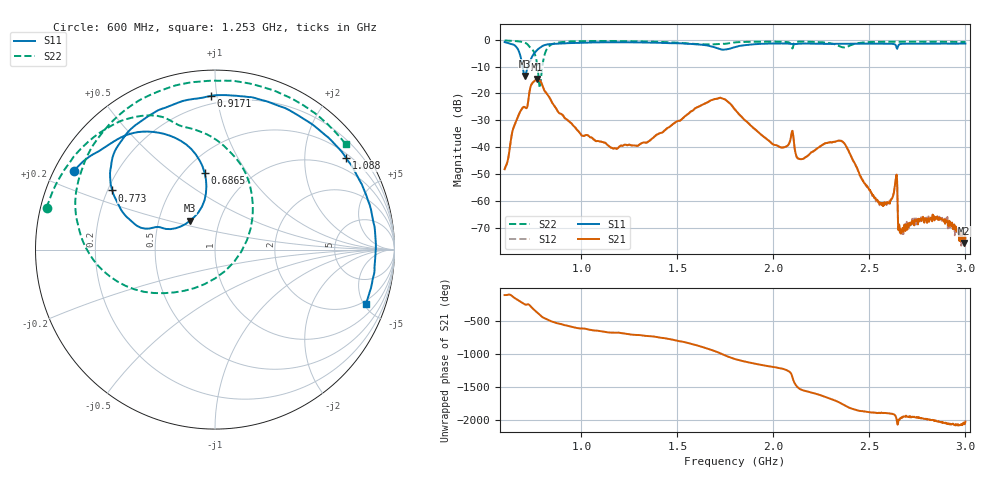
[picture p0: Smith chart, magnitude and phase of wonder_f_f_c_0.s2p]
#  HZ  S  RI  R  50.00
! Rohde & Schwarz ZVB8 2Ports - Version 2.81 - 1145.1010k08 SN: 100113
! Date: 2016-05-12 03:16:58
! Measurements: S11 S21 S12 S22
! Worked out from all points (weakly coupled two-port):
!   1000 points, 600 MHz to 3 GHz, reference 50 ohm
!   highest |S21| = -14.64 dB at 770.6 MHz (marker M1); lowest = -75.5 dB at 2.993 GHz (marker M2)
!   lowest |S11| = -13.4 dB at 705.7 MHz (marker M3), VSWR 1.54, Z = 36.1 + j12.2 ohm
!   |S11| at or under -10 dB: 693.8 MHz to 720.5 MHz (26.78 MHz wide, 3.79 % of centre)
!   |S22| runs from -18.0 to -0.3 dB; largest |S21 - S12| = 0.0022
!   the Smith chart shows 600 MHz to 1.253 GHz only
!   S11 on the Smith chart (normalised r, x): 600 MHz: 0.06, +0.26; 686.5 MHz: 0.62, +0.66; 773 MHz: 0.22, +0.26; 917.1 MHz: 0.15, +0.96; 1.088 GHz: 0.62, +3.07; 1.253 GHz: 1.72, -5.14
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6e8  -0.7866 0.4381  -0.00133 -0.00369  -0.00137 -0.00367  -0.9381 0.2326
6.864865e8  -0.0581 0.4281  -0.04 0.0294  -0.04 0.0293  -0.6387 0.6532
7.057057e8  -0.1381 0.1617  -0.0183 0.0524  -0.0177 0.0524  -0.4842 0.7296
7.705706e8  -0.5675 0.3129  0.179 -0.0479  0.1798 -0.0482  0.2111 0.2462
7.72973e8  -0.5724 0.3297  0.1719 -0.0688  0.1736 -0.0687  0.2097 0.1846
7.993994e8  -0.5699 0.5169  0.00609 -0.1329  0.00623 -0.1328  -0.2843 -0.2428
8.306306e8  -0.4422 0.6942  -0.0562 -0.0672  -0.0562 -0.067  -0.7467 0.0752
9.171171e8  -0.0236 0.8565  -0.0309 0.0148  -0.0308 0.0148  -0.5742 0.7129
1.001201e9  0.3898 0.7891  -0.0042 0.0161  -0.00423 0.016  -0.2188 0.9149
1.087688e9  0.7308 0.51  0.00454 0.0123  0.0045 0.0123  0.1564 0.9312
1.253453e9  0.8391 -0.3041  0.0106 0.00311  0.0107 0.00307  0.7277 0.5878
1.4e9  0.3446 -0.8046  0.0156 -0.00806  0.0157 -0.00806  0.9123 0.0446
1.801201e9  -0.7046 -0.1969  0.0496 0.00225  0.0497 0.00231  0.2158 -0.8622
1.976577e9  -0.723 0.4402  -0.00367 -0.0127  -0.00365 -0.0128  -0.3279 -0.8563
2.2e9  0.0211 0.8448  -0.00666 -0.00469  -0.00666 -0.00476  -0.7747 -0.4874
2.358559e9  0.5918 0.5932  0.00943 0.00876  0.00935 0.00884  -0.7134 -0.1188
2.601201e9  0.7474 -0.3885  -8.8e-05 -0.000941  -9.93e-05 -0.000961  -0.8666 0.2926
2.634835e9  0.6132 -0.5216  -0.00142 -0.00165  -0.00137 -0.00162  -0.8434 0.3624
2.666066e9  0.6187 -0.5609  -0.000252 -9.77e-05  -0.000265 -6.4e-05  -0.8094 0.4283
2.841441e9  -0.0244 -0.8416  -0.00042 0.000238  -0.000459 0.000131  -0.5409 0.7379
2.992793e9  -0.5388 -0.6529  -2.08e-05 0.000166  -0.000103 0.000259  -0.2029 0.8808
3e9  -0.5537 -0.6386  -0.000152 0.000131  -0.000125 0.000215  -0.1824 0.8845
